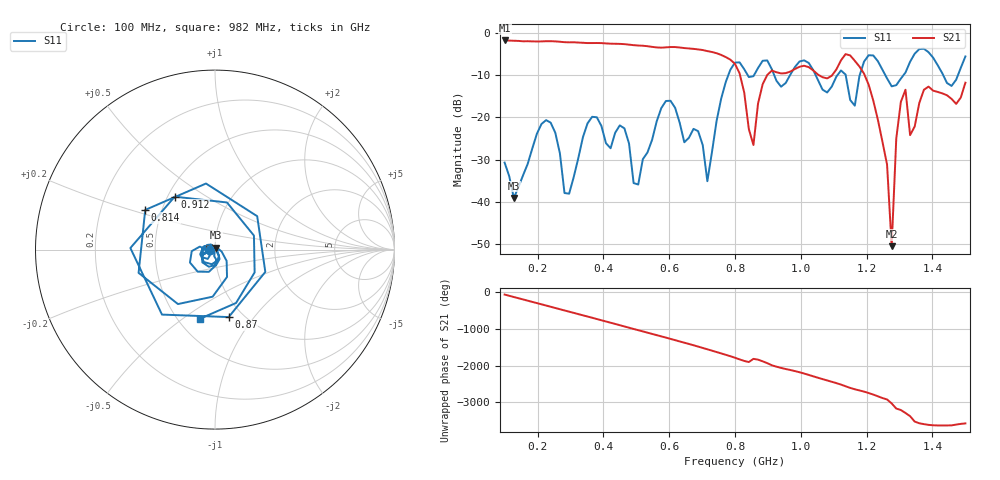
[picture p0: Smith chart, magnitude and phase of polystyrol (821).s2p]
! NanoVNA-App
! Date: 2025-09-25 15:36:16
! Start: 100MHz Stop: 1,5GHz Points: 101
! S-Parameter data: F S11 S21 S12 S22
# Hz S RI R 50
!  Frequency  S11_Real  S11_Imag  S21_Real  S21_Imag  S12_Real  S12_Imag  S22_Real  S22_Imag
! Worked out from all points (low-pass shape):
!   101 points, 100 MHz to 1.5 GHz, reference 50 ohm
!   highest |S21| = -1.80 dB at 100 MHz (marker M1); lowest = -50.5 dB at 1.276 GHz (marker M2)
!   |S21| within 3 dB of the highest: start of sweep to 743.1 MHz
!   lowest |S11| = -39.1 dB at 128 MHz (marker M3), VSWR 1.02, Z = 50.3 + j1.06 ohm
!   |S11| at or under -10 dB: start of sweep to 779.8 MHz; 1.045 GHz to 1.111 GHz (66.48 MHz wide, 6.17 % of centre); 1.257 GHz to 1.312 GHz (55.43 MHz wide, 4.32 % of centre) (the widest 3 of 7)
!   S12 and S22 are empty: the file has one direction only
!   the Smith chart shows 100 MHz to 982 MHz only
!   S11 on the Smith chart (normalised r, x): 100 MHz: 0.94, -0.01; 814 MHz: 0.40, +0.22; 870 MHz: 0.86, -0.76; 912 MHz: 0.54, +0.37; 982 MHz: 0.64, -0.58
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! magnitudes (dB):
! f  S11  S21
! 100 MHz  -30.7  -1.8
! 128 MHz  -39.1  -1.9
! 212 MHz  -21.6  -2.0
! 282 MHz  -37.9  -2.2
! 338 MHz  -24.7  -2.4
! 506 MHz  -35.9  -3.0
! 576 MHz  -17.8  -3.5
! 716 MHz  -35.1  -4.3
! 800 MHz  -7.0  -7.3
! 814 MHz  -7.0  -9.6
! 856 MHz  -10.3  -26.5
! 870 MHz  -8.3  -16.7
! 912 MHz  -8.6  -8.9
! 982 MHz  -8.1  -8.6
! 1.038 GHz  -8.8  -8.9
! 1.192 GHz  -6.8  -9.6
! 1.262 GHz  -10.8  -31.2
! 1.276 GHz  -12.7  -50.5
! 1.29 GHz  -12.4  -25.0
! 1.318 GHz  -9.4  -13.5
! 1.332 GHz  -6.8  -24.2
! 1.5 GHz  -5.6  -11.8
